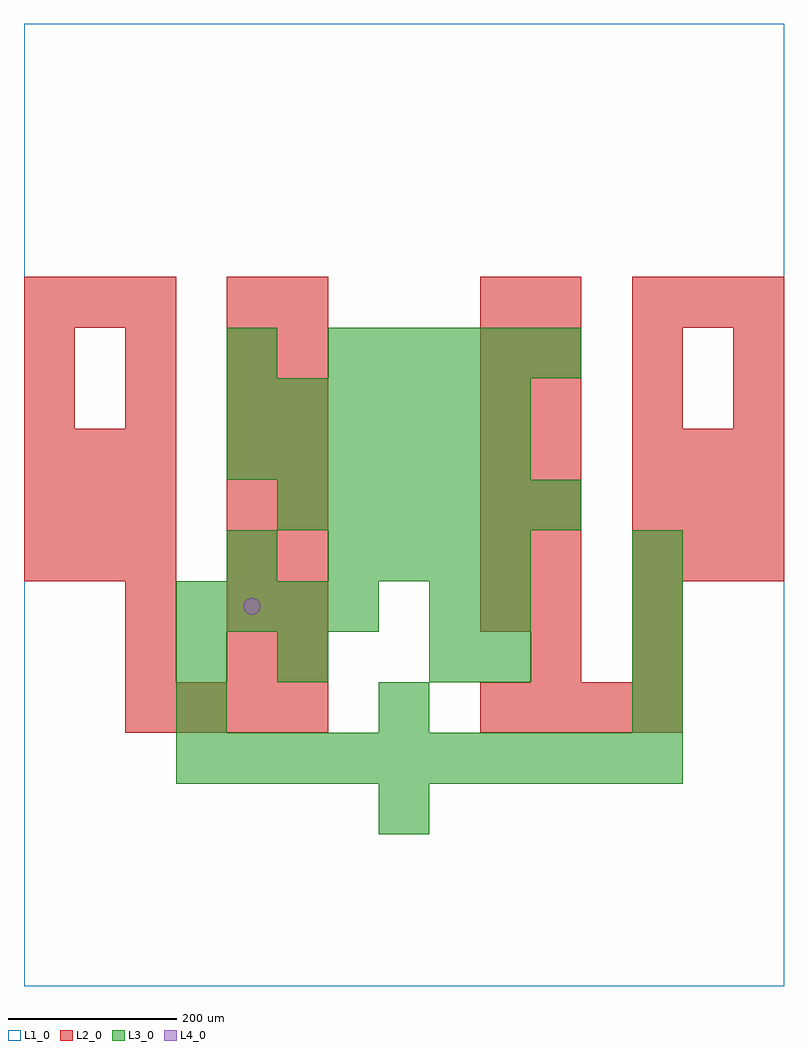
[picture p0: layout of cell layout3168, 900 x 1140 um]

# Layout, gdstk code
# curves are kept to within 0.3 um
import gdstk
lib = gdstk.Library(unit=1e-6, precision=1e-09)
def R(c, l, rs):  # rectangles x0, y0, x1, y1
    for r in rs: c.add(gdstk.rectangle(r[:2], r[2:], *l))
def A(c, l, x, y, w, h, nx, ny, dx, dy):  # array of equal rectangles
    R(c, l, [(x+i*dx, y+j*dy, x+i*dx+w, y+j*dy+h) for i in range(nx) for j in range(ny)])
def P(c, l, *ps):  # polygons
    for p in ps: c.add(gdstk.Polygon(p, *l))
L1_0 = (1, 0)
L2_0 = (2, 0)
L3_0 = (3, 0)
L4_0 = (4, 0)

layout3168 = lib.new_cell('layout3168')
R(layout3168, L1_0, [(0,0,900,1140)])
A(layout3168, L2_0, 120, 300, 60, 60, 4, 1, 60, 0)
A(layout3168, L2_0, 540, 300, 60, 60, 4, 1, 60, 0)
A(layout3168, L2_0, 240, 360, 60, 60, 1, 5, 0, 60)
A(layout3168, L2_0, 300, 360, 60, 60, 1, 8, 0, 60)
A(layout3168, L2_0, 600, 360, 60, 60, 1, 5, 0, 60)
A(layout3168, L2_0, 540, 420, 60, 60, 1, 7, 0, 60)
A(layout3168, L2_0, 0, 480, 60, 60, 3, 3, 60, 60)
A(layout3168, L2_0, 720, 480, 60, 60, 3, 3, 60, 60)
A(layout3168, L2_0, 0, 660, 60, 60, 3, 2, 120, 60)
A(layout3168, L2_0, 600, 660, 60, 60, 3, 2, 120, 60)
A(layout3168, L2_0, 0, 780, 60, 60, 3, 1, 60, 0)
A(layout3168, L2_0, 720, 780, 60, 60, 3, 1, 60, 0)
R(layout3168, L2_0, [(120,360,180,420), (720,360,780,420), (120,420,180,480), (720,420,780,480), (240,780,300,840), (600,780,660,840)])
A(layout3168, L3_0, 180, 240, 60, 60, 10, 1, 60, 0)
A(layout3168, L3_0, 720, 300, 60, 60, 1, 4, 0, 60)
A(layout3168, L3_0, 180, 420, 60, 60, 4, 1, 60, 0)
A(layout3168, L3_0, 360, 480, 60, 60, 4, 1, 60, 0)
A(layout3168, L3_0, 300, 540, 60, 60, 6, 1, 60, 0)
A(layout3168, L3_0, 240, 600, 60, 60, 6, 2, 60, 60)
A(layout3168, L3_0, 360, 720, 60, 60, 5, 1, 60, 0)
R(layout3168, L3_0, [(420,180,480,240), (180,300,240,360), (420,300,480,360), (180,360,240,420), (300,360,360,420), (480,360,540,420), (540,360,600,420), (480,420,540,480), (540,420,600,480), (240,480,300,540), (240,720,300,780)])
P(layout3168, L4_0, [(280,450),(279.239,453.827),(277.071,457.071),(273.827,459.239),(270,460),(266.173,459.239),(262.929,457.071),(260.761,453.827),(260,450),(260.761,446.173),(262.929,442.929),(266.173,440.761),(270,440),(273.827,440.761),(277.071,442.929),(279.239,446.173)])

lib.write_gds('layout3168.gds')
